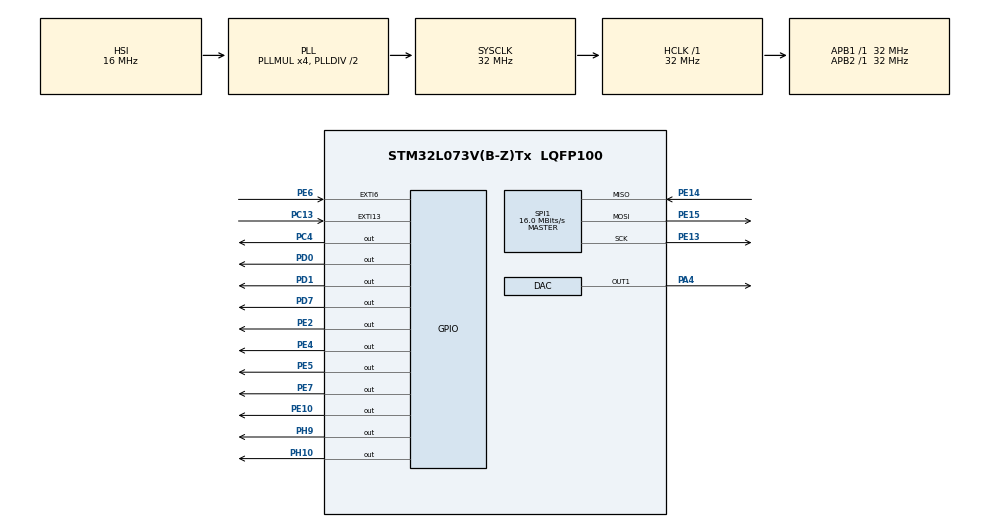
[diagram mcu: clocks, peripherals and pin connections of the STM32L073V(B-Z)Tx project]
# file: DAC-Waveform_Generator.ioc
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DAC.DAC_OutputBuffer=DAC_OUTPUTBUFFER_ENABLE
DAC.DAC_Trigger=DAC_TRIGGER_T7_TRGO
Dma.DAC_CH1.0.Direction=DMA_MEMORY_TO_PERIPH
Dma.DAC_CH1.0.Instance=DMA1_Channel2
Dma.DAC_CH1.0.MemDataAlignment=DMA_MDATAALIGN_HALFWORD
Dma.DAC_CH1.0.MemInc=DMA_MINC_ENABLE
Dma.DAC_CH1.0.Mode=DMA_CIRCULAR
Dma.DAC_CH1.0.PeriphDataAlignment=DMA_PDATAALIGN_HALFWORD
Dma.DAC_CH1.0.PeriphInc=DMA_PINC_DISABLE
Dma.DAC_CH1.0.Priority=DMA_PRIORITY_LOW
Dma.Request0=DAC_CH1
Mcu.Family=STM32L0
Mcu.Name=STM32L073V(B-Z)Tx
Mcu.Package=LQFP100
NVIC.DMA1_Channel2_3_IRQn=true\:0\:0\:false\:false\:true\:false
NVIC.EXTI4_15_IRQn=true\:0\:0\:false\:false\:true\:true
NVIC.TIM6_DAC_IRQn=true\:0\:0\:false\:false\:true\:true
PA0.GPIO_Mode=GPIO_MODE_ANALOG
PA0.GPIO_PuPd=GPIO_NOPULL
PA0.Signal=ADC_IN0
PA11.Signal=USB_DM
PA12.Signal=USB_DP
PA13.Signal=SYS_SWDIO
PA14.Signal=SYS_SWCLK
PA4.GPIO_Mode=GPIO_MODE_ANALOG
PA4.GPIO_PuPd=GPIO_NOPULL
PA4.Signal=COMP_DAC1_group
PA5.GPIO_Mode=GPIO_MODE_ANALOG
PA5.GPIO_PuPd=GPIO_NOPULL
PA5.Signal=ADC_IN5
PA7.GPIO_Mode=GPIO_MODE_AF_PP
PA7.GPIO_PuPd=GPIO_NOPULL
PA7.GPIO_Speed=GPIO_SPEED_FREQ_LOW
PA7.Signal=COMP2_OUT
PB3.GPIO_Mode=GPIO_MODE_ANALOG
PB3.GPIO_PuPd=GPIO_NOPULL
PB3.Signal=COMP2_INM
PB4.GPIO_Mode=GPIO_MODE_ANALOG
PB4.GPIO_PuPd=GPIO_NOPULL
PB4.Signal=COMP2_INP
PB5.GPIO_Mode=GPIO_MODE_AF_OD
PB5.GPIO_PuPdOD=GPIO_PULLUP
PB5.GPIO_Speed=GPIO_SPEED_FREQ_VERY_HIGH
PB5.Signal=I2C1_SMBA
PB6.GPIO_FM6=__NULL
PB6.GPIO_Mode=GPIO_MODE_AF_OD
PB6.GPIO_PuPdOD=GPIO_PULLUP
PB6.GPIO_Speed=GPIO_SPEED_FREQ_VERY_HIGH
PB6.Signal=I2C1_SCL
PB7.GPIO_FM7=__NULL
PB7.GPIO_Mode=GPIO_MODE_AF_OD
PB7.GPIO_PuPdOD=GPIO_PULLUP
PB7.GPIO_Speed=GPIO_SPEED_FREQ_VERY_HIGH
PB7.Signal=I2C1_SDA
PC0.GPIO_Mode=GPIO_MODE_AF_PP
PC0.GPIO_PuPd=GPIO_NOPULL
PC0.GPIO_Speed=GPIO_SPEED_FREQ_LOW
PC0.Signal=LPTIM1_IN1
PC13.Signal=GPXTI13
PC14-OSC32_IN.Signal=RCC_OSC32_IN
PC15-OSC32_OUT.Signal=RCC_OSC32_OUT
PC4.GPIO_ModeDefaultOutputPP=GPIO_MODE_OUTPUT_PP
PC4.GPIO_PuPd=GPIO_NOPULL
PC4.GPIO_Speed=GPIO_SPEED_FREQ_LOW
PC4.PinState=GPIO_PIN_RESET
PC4.Signal=GPIO_Output
PD0.GPIO_ModeDefaultOutputPP=GPIO_MODE_OUTPUT_PP
PD0.GPIO_PuPd=GPIO_NOPULL
PD0.GPIO_Speed=GPIO_SPEED_FREQ_LOW
PD0.PinState=GPIO_PIN_RESET
PD0.Signal=GPIO_Output
PD1.GPIO_ModeDefaultOutputPP=GPIO_MODE_OUTPUT_PP
PD1.GPIO_PuPd=GPIO_NOPULL
PD1.GPIO_Speed=GPIO_SPEED_FREQ_LOW
PD1.PinState=GPIO_PIN_RESET
PD1.Signal=GPIO_Output
PD11.GPIO_Mode=GPIO_MODE_AF_PP
PD11.GPIO_PuPd=GPIO_NOPULL
PD11.GPIO_Speed=GPIO_SPEED_FREQ_VERY_HIGH
PD11.Signal=LPUART1_CTS
PD12.GPIO_Mode=GPIO_MODE_AF_PP
PD12.GPIO_PuPd=GPIO_NOPULL
PD12.GPIO_Speed=GPIO_SPEED_FREQ_VERY_HIGH
PD12.Signal=LPUART1_RTS
PD3.GPIO_Mode=GPIO_MODE_AF_PP
PD3.GPIO_PuPd=GPIO_NOPULL
PD3.GPIO_Speed=GPIO_SPEED_FREQ_VERY_HIGH
PD3.Signal=USART2_CTS
PD4.GPIO_Mode=GPIO_MODE_AF_PP
PD4.GPIO_PuPd=GPIO_NOPULL
PD4.GPIO_Speed=GPIO_SPEED_FREQ_VERY_HIGH
PD4.Signal=USART2_RTS
PD5.GPIO_Mode=GPIO_MODE_AF_PP
PD5.GPIO_PuPd=GPIO_NOPULL
PD5.GPIO_Speed=GPIO_SPEED_FREQ_VERY_HIGH
PD5.Signal=USART2_TX
PD6.GPIO_Mode=GPIO_MODE_AF_PP
PD6.GPIO_PuPd=GPIO_NOPULL
PD6.GPIO_Speed=GPIO_SPEED_FREQ_VERY_HIGH
PD6.Signal=USART2_RX
PD7.GPIO_ModeDefaultOutputPP=GPIO_MODE_OUTPUT_PP
PD7.GPIO_PuPd=GPIO_NOPULL
PD7.GPIO_Speed=GPIO_SPEED_FREQ_LOW
PD7.PinState=GPIO_PIN_RESET
PD7.Signal=GPIO_Output
PD8.GPIO_Mode=GPIO_MODE_AF_PP
PD8.GPIO_PuPd=GPIO_NOPULL
PD8.GPIO_Speed=GPIO_SPEED_FREQ_VERY_HIGH
PD8.Signal=LPUART1_TX
PD9.GPIO_Mode=GPIO_MODE_AF_PP
PD9.GPIO_PuPd=GPIO_NOPULL
PD9.GPIO_Speed=GPIO_SPEED_FREQ_VERY_HIGH
PD9.Signal=LPUART1_RX
PE10.GPIO_ModeDefaultOutputPP=GPIO_MODE_OUTPUT_PP
PE10.GPIO_PuPd=GPIO_NOPULL
PE10.GPIO_Speed=GPIO_SPEED_FREQ_LOW
PE10.PinState=GPIO_PIN_RESET
PE10.Signal=GPIO_Output
PE13.GPIO_Mode=GPIO_MODE_AF_PP
PE13.GPIO_PuPd=GPIO_NOPULL
PE13.GPIO_Speed=GPIO_SPEED_FREQ_VERY_HIGH
PE13.Mode=Full_Duplex_Master
PE13.Signal=SPI1_SCK
PE14.GPIO_Mode=GPIO_MODE_AF_PP
PE14.GPIO_PuPd=GPIO_NOPULL
PE14.GPIO_Speed=GPIO_SPEED_FREQ_VERY_HIGH
PE14.Mode=Full_Duplex_Master
PE14.Signal=SPI1_MISO
PE15.GPIO_Mode=GPIO_MODE_AF_PP
PE15.GPIO_PuPd=GPIO_NOPULL
PE15.GPIO_Speed=GPIO_SPEED_FREQ_VERY_HIGH
PE15.Mode=Full_Duplex_Master
PE15.Signal=SPI1_MOSI
PE2.GPIO_ModeDefaultOutputPP=GPIO_MODE_OUTPUT_PP
PE2.GPIO_PuPd=GPIO_NOPULL
PE2.GPIO_Speed=GPIO_SPEED_FREQ_LOW
PE2.PinState=GPIO_PIN_RESET
PE2.Signal=GPIO_Output
PE4.GPIO_ModeDefaultOutputPP=GPIO_MODE_OUTPUT_PP
PE4.GPIO_PuPd=GPIO_NOPULL
PE4.GPIO_Speed=GPIO_SPEED_FREQ_LOW
PE4.PinState=GPIO_PIN_RESET
PE4.Signal=GPIO_Output
PE5.GPIO_ModeDefaultOutputPP=GPIO_MODE_OUTPUT_PP
PE5.GPIO_PuPd=GPIO_NOPULL
PE5.GPIO_Speed=GPIO_SPEED_FREQ_LOW
PE5.PinState=GPIO_PIN_RESET
PE5.Signal=GPIO_Output
PE6.GPIO_ModeDefaultEXTI=GPIO_MODE_IT_RISING
PE6.GPIO_PuPd=GPIO_NOPULL
PE6.Signal=GPXTI6
PE7.GPIO_ModeDefaultOutputPP=GPIO_MODE_OUTPUT_PP
PE7.GPIO_PuPd=GPIO_NOPULL
PE7.GPIO_Speed=GPIO_SPEED_FREQ_LOW
PE7.PinState=GPIO_PIN_RESET
PE7.Signal=GPIO_Output
PE8.GPIO_Mode=GPIO_MODE_AF_PP
PE8.GPIO_PuPd=GPIO_NOPULL
PE8.GPIO_Speed=GPIO_SPEED_FREQ_VERY_HIGH
PE8.Signal=USART4_TX
PE9.GPIO_Mode=GPIO_MODE_AF_PP
PE9.GPIO_PuPd=GPIO_NOPULL
PE9.GPIO_Speed=GPIO_SPEED_FREQ_VERY_HIGH
PE9.Signal=USART4_RX
PH10.GPIO_ModeDefaultOutputPP=GPIO_MODE_OUTPUT_PP
PH10.GPIO_PuPd=GPIO_NOPULL
PH10.GPIO_Speed=GPIO_SPEED_FREQ_LOW
PH10.PinState=GPIO_PIN_RESET
PH10.Signal=GPIO_Output
PH9.GPIO_ModeDefaultOutputPP=GPIO_MODE_OUTPUT_PP
PH9.GPIO_PuPd=GPIO_NOPULL
PH9.GPIO_Speed=GPIO_SPEED_FREQ_LOW
PH9.PinState=GPIO_PIN_RESET
PH9.Signal=GPIO_Output
ProjectManager.HeapSize=0x200
ProjectManager.StackSize=0x400
ProjectManager.TargetToolchain=SW4STM32
RCC.AHBFreq_Value=32000000
RCC.APB1Freq_Value=32000000
RCC.APB1TimFreq_Value=32000000
RCC.APB2Freq_Value=32000000
RCC.APB2TimFreq_Value=32000000
RCC.HCLKFreq_Value=32000000
RCC.HSE_VALUE=8000000
RCC.HSI16_VALUE=16000000
RCC.HSI48_VALUE=48000000
RCC.HSI_VALUE=16000000
RCC.LSE_VALUE=32768
RCC.MSI_VALUE=2097000
RCC.PLLMUL=RCC_PLLMUL_4
RCC.SYSCLKFreq_VALUE=32000000
RCC.SYSCLKSource=RCC_SYSCLKSOURCE_PLLCLK
RCC.VCOOutputFreq_Value=64000000
SH.COMP_DAC1_group.0=DAC_OUT1,DAC_OUT1
SPI1.CalculateBaudRate=16.0 MBits/s
SPI1.Direction=SPI_DIRECTION_2LINES
SPI1.Mode=SPI_MODE_MASTER
SPI1.VirtualType=VM_MASTER
TIM6.Period=1500
TIM6.Prescaler=SystemCoreClock / 1000
TIM7.Period=0xFFFF
TIM7.TIM_MasterOutputTrigger=TIM_TRGO_UPDATE
VP_TIM6_VS_ClockSourceINT.Mode=Enable_Timer
VP_TIM7_VS_ClockSourceINT.Mode=Enable_Timer
board=STM32L073Z-EVAL

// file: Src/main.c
/**
  ******************************************************************************
  * File Name          : main.c
  * Description        : Main program body
  ******************************************************************************
  ** This notice applies to any and all portions of this file
  * that are not between comment pairs USER CODE BEGIN and
  * USER CODE END. Other portions of this file, whether
  * inserted by the user or by software development tools
  * are owned by their respective copyright owners.
  *
  * COPYRIGHT(c) 2017 STMicroelectronics
  *
  * Redistribution and use in source and binary forms, with or without modification,
  * are permitted provided that the following conditions are met:
  *   1. Redistributions of source code must retain the above copyright notice,
  *      this list of conditions and the following disclaimer.
  *   2. Redistributions in binary form must reproduce the above copyright notice,
  *      this list of conditions and the following disclaimer in the documentation
  *      and/or other materials provided with the distribution.
  *   3. Neither the name of STMicroelectronics nor the names of its contributors
  *      may be used to endorse or promote products derived from this software
  *      without specific prior written permission.
  *
  * THIS SOFTWARE IS PROVIDED BY THE COPYRIGHT HOLDERS AND CONTRIBUTORS "AS IS"
  * AND ANY EXPRESS OR IMPLIED WARRANTIES, INCLUDING, BUT NOT LIMITED TO, THE
  * IMPLIED WARRANTIES OF MERCHANTABILITY AND FITNESS FOR A PARTICULAR PURPOSE ARE
  * DISCLAIMED. IN NO EVENT SHALL THE COPYRIGHT HOLDER OR CONTRIBUTORS BE LIABLE
  * FOR ANY DIRECT, INDIRECT, INCIDENTAL, SPECIAL, EXEMPLARY, OR CONSEQUENTIAL
  * DAMAGES (INCLUDING, BUT NOT LIMITED TO, PROCUREMENT OF SUBSTITUTE GOODS OR
  * SERVICES; LOSS OF USE, DATA, OR PROFITS; OR BUSINESS INTERRUPTION) HOWEVER
  * CAUSED AND ON ANY THEORY OF LIABILITY, WHETHER IN CONTRACT, STRICT LIABILITY,
  * OR TORT (INCLUDING NEGLIGENCE OR OTHERWISE) ARISING IN ANY WAY OUT OF THE USE
  * OF THIS SOFTWARE, EVEN IF ADVISED OF THE POSSIBILITY OF SUCH DAMAGE.
  *
  ******************************************************************************
  */

#include "main.h"
#include "stm32l0xx_hal.h"
#include "dac.h"
#include "dma.h"
#include "spi.h"
#include "tim.h"
#include "gpio.h"

/* USER CODE BEGIN Includes */
#include "stm32l073z_eval.h"
#include "LCD_Waveform.h"
#include <stdbool.h>
/* USER CODE END Includes */

/* USER CODE BEGIN PV */
/* Private variables ---------------------------------------------------------*/

/* USER CODE END PV */

void SystemClock_Config(void);

/* USER CODE BEGIN PFP */
/* Private function prototypes -----------------------------------------------*/

/* USER CODE END PFP */

/* USER CODE BEGIN 0 */

typedef enum Modes {
    MODE_SINE = 0,
    MODE_TRIANGLE,
    MODE_SAWTOOTH,
} Mode_TypeDef;

#define DAC_DMA_SIZE (64)

// Explictly state volatile variables (especially in Keil)
volatile bool PC13_Pressed = false;
volatile JOYState_TypeDef Joystick_State = JOY_NONE;

volatile Mode_TypeDef mode_type = MODE_SINE;
volatile bool mode_updated = true;

uint16_t DAC_Array[DAC_DMA_SIZE];

void DAC_SetFrequency(TIM_HandleTypeDef *htim, int frequency, int dma_array_size) {
    /**
     * DMA is triggered by the timer. If the array size is n,
     * then n timer tiggers are needed to cycle through DMA.
     *
     * For whole cycle:
     *   1/SystemCoreClock * Timer Ticks * dma_array_size = Period
     *   SystemCoreClock / (dma_array_size * Timer Ticks) = Frequency
     *   Timer Ticks = SystemCoreClock / (dma_array_size * Frequency)
     */
    uint32_t period = SystemCoreClock / (dma_array_size * frequency);

    /**
     * If Period if larger than max 16-bits, increment the prescalar
     * and divide by 2 until it is within 16-bits.
     */
    uint32_t prescalar = 0;
    while (period > 0xFFFF) {
        period /= 2;
        prescalar++;
    }

    htim->Instance->ARR = period - 1;
    htim->Instance->PSC = prescalar;
}

void HAL_GPIO_EXTI_Callback(uint16_t GPIO_Pin) {
    // PC13
    if (GPIO_Pin == GPIO_PIN_13) {
        PC13_Pressed = true;
    }

    // PE6
    if (GPIO_Pin == GPIO_PIN_6) {
        JOYState_TypeDef joystick = BSP_JOY_GetState();
        if (joystick == JOY_UP ||
                joystick == JOY_DOWN ||
                joystick == JOY_LEFT ||
                joystick == JOY_RIGHT) {
            Joystick_State = joystick;
        }
        BSP_IO_ITClear();
    }
}

void HAL_TIM_PeriodElapsedCallback(TIM_HandleTypeDef *htim) {
    if (htim->Instance == TIM6) {
        HAL_TIM_Base_Stop_IT(htim);
        switch (mode_type) {
        case MODE_SINE:
            MyLCD_DrawSineWave(LCD_COLOR_YELLOW);
            MyLCD_DrawSineWave(LCD_COLOR_RED);
            break;
        case MODE_TRIANGLE:
            MyLCD_DrawTriangleWave(LCD_COLOR_YELLOW);
            MyLCD_DrawTriangleWave(LCD_COLOR_RED);
            break;
        case MODE_SAWTOOTH:
            MyLCD_DrawSawtoothWave(LCD_COLOR_YELLOW);
            MyLCD_DrawSawtoothWave(LCD_COLOR_RED);
            break;
        }
        htim->Instance->CNT = 0; // Reset Count
        HAL_TIM_Base_Start_IT(htim);
    }

}
/* USER CODE END 0 */

int main(void)
{

  /* MCU Configuration----------------------------------------------------------*/

  /* Reset of all peripherals, Initializes the Flash interface and the Systick. */
  HAL_Init();

  /* Configure the system clock */
  SystemClock_Config();

  /* Initialize all configured peripherals */
  MX_GPIO_Init();
  MX_DMA_Init();
  MX_SPI1_Init();
  MX_DAC_Init();
  MX_TIM7_Init();
  MX_TIM6_Init();

  /* USER CODE BEGIN 2 */

  // Init all LEDs
  BSP_LED_Init(LED1);
  BSP_LED_Init(LED2);
  BSP_LED_Init(LED3);
  BSP_LED_Init(LED4);

  // Joystick
  BSP_JOY_Init(JOY_MODE_EXTI);

  // Turn on LCD
  MyLCD_Init();

  // Wait until key is pressed to begin
  while (!PC13_Pressed && Joystick_State == JOY_NONE) {
      __NOP();
  }
  PC13_Pressed = false;
  Joystick_State = JOY_NONE;
  MyLCD_ClearDiagram();

  // Enable TIM6 interrupt for updating SPI LCD
  HAL_TIM_Base_Start_IT(&htim6);

  // Start DAC on PA4 with TIM7 trigger DMA
  HAL_TIM_Base_Start(&htim7);
  HAL_DAC_Start(&hdac, DAC_CHANNEL_1);

  /* USER CODE END 2 */

  /* Infinite loop */
  /* USER CODE BEGIN WHILE */

  uint32_t freq_digit = 1;
  uint32_t freq_multiplier = 100;

  while (1) {
      // Handle Button
      if (PC13_Pressed) {
          PC13_Pressed = false;
          mode_type++;
          mode_updated = true;
          MyLCD_ClearDiagram();
      }

      if (mode_updated) {
          mode_updated = false;
          HAL_DAC_Stop_DMA(&hdac, DAC_CHANNEL_1);

          __disable_irq();
          switch (mode_type) {
          case MODE_SINE:
              MyLCD_HeaderText("     1. Sine wave     ", LCD_COLOR_CYAN);
              MyLCD_DrawSineWave(LCD_COLOR_RED);
              for (int i = 0; i < DAC_DMA_SIZE; i++) {
                  float rad = sin(1.0 * i/DAC_DMA_SIZE * 2*M_PI);
                  DAC_Array[i] = (uint16_t) (rad * 2047 + 2047);
                  // + 2047 because because range is 0 - 4095
              }
              break;
          case MODE_TRIANGLE:
              MyLCD_HeaderText("     2. Triangle wave     ", LCD_COLOR_CYAN);
              MyLCD_DrawTriangleWave(LCD_COLOR_RED);
              for (int i = 0; i < DAC_DMA_SIZE; i++) {
                  // percent is from -1.0 to 1.0
                  float percent = (2.0 * i / (DAC_DMA_SIZE - 1)) - 1.0;
                  DAC_Array[i] = abs(percent * 4095);
              }
              break;
          case MODE_SAWTOOTH:
              MyLCD_HeaderText("     3. Sawtooth wave     ", LCD_COLOR_CYAN);
              MyLCD_DrawSawtoothWave(LCD_COLOR_RED);
              for (int i = 0; i < DAC_DMA_SIZE; i++) {
                  // percent is from 0.0 to 1.0
                  float percent = 1.0 * i / (DAC_DMA_SIZE - 1);
                  DAC_Array[i] = round(percent * 4095);
              }
              break;
          default:
              mode_type = MODE_SINE;
              mode_updated = true;
              continue;
          }
          HAL_DAC_Start_DMA(&hdac, DAC_CHANNEL_1,
                  (uint32_t*) DAC_Array, DAC_DMA_SIZE, DAC_ALIGN_12B_R);
          __enable_irq();
      }

      // Handle Joystick
      if (Joystick_State != JOY_NONE) {
          if (Joystick_State == JOY_UP) {
              if (freq_multiplier < 1000) {
                  freq_multiplier *= 10;
              }
          } else if (Joystick_State == JOY_DOWN) {
              if (freq_multiplier > 1) {
                  freq_multiplier /= 10;
              }
          } else if (Joystick_State == JOY_LEFT) {
              if (freq_digit-- <= 1) {
                  freq_digit = 9;
              }
          } else if (Joystick_State == JOY_RIGHT) {
              if (freq_digit++ >= 9) {
                  freq_digit = 1;
              }
          }
          Joystick_State = JOY_NONE;
      }

      __disable_irq();
      uint32_t frequency = freq_digit * freq_multiplier;
      DAC_SetFrequency(&htim7, frequency, DAC_DMA_SIZE);
      char text[50];
      sprintf(text, "     %d Hz     ", frequency);
      MyLCD_FooterText(text, LCD_COLOR_CYAN);
      __enable_irq();
  /* USER CODE END WHILE */

  }

}

/** System Clock Configuration
*/
void SystemClock_Config(void)
{

  RCC_OscInitTypeDef RCC_OscInitStruct;
  RCC_ClkInitTypeDef RCC_ClkInitStruct;

    /**Configure the main internal regulator output voltage
    */
  __HAL_PWR_VOLTAGESCALING_CONFIG(PWR_REGULATOR_VOLTAGE_SCALE1);

    /**Initializes the CPU, AHB and APB busses clocks
    */
  RCC_OscInitStruct.OscillatorType = RCC_OSCILLATORTYPE_HSI;
  RCC_OscInitStruct.HSIState = RCC_HSI_ON;
  RCC_OscInitStruct.HSICalibrationValue = 16;
  RCC_OscInitStruct.PLL.PLLState = RCC_PLL_ON;
  RCC_OscInitStruct.PLL.PLLSource = RCC_PLLSOURCE_HSI;
  RCC_OscInitStruct.PLL.PLLMUL = RCC_PLLMUL_4;
  RCC_OscInitStruct.PLL.PLLDIV = RCC_PLLDIV_2;
  if (HAL_RCC_OscConfig(&RCC_OscInitStruct) != HAL_OK)
  {
    _Error_Handler(__FILE__, __LINE__);
  }

    /**Initializes the CPU, AHB and APB busses clocks
    */
  RCC_ClkInitStruct.ClockType = RCC_CLOCKTYPE_HCLK|RCC_CLOCKTYPE_SYSCLK
                              |RCC_CLOCKTYPE_PCLK1|RCC_CLOCKTYPE_PCLK2;
  RCC_ClkInitStruct.SYSCLKSource = RCC_SYSCLKSOURCE_PLLCLK;
  RCC_ClkInitStruct.AHBCLKDivider = RCC_SYSCLK_DIV1;
  RCC_ClkInitStruct.APB1CLKDivider = RCC_HCLK_DIV1;
  RCC_ClkInitStruct.APB2CLKDivider = RCC_HCLK_DIV1;

  if (HAL_RCC_ClockConfig(&RCC_ClkInitStruct, FLASH_LATENCY_1) != HAL_OK)
  {
    _Error_Handler(__FILE__, __LINE__);
  }

    /**Configure the Systick interrupt time
    */
  HAL_SYSTICK_Config(HAL_RCC_GetHCLKFreq()/1000);

    /**Configure the Systick
    */
  HAL_SYSTICK_CLKSourceConfig(SYSTICK_CLKSOURCE_HCLK);

  /* SysTick_IRQn interrupt configuration */
  HAL_NVIC_SetPriority(SysTick_IRQn, 0, 0);
}

void _Error_Handler(char * file, int line)
{
  while(1)
  {
  }
}

/************************ (C) COPYRIGHT STMicroelectronics *****END OF FILE****/
